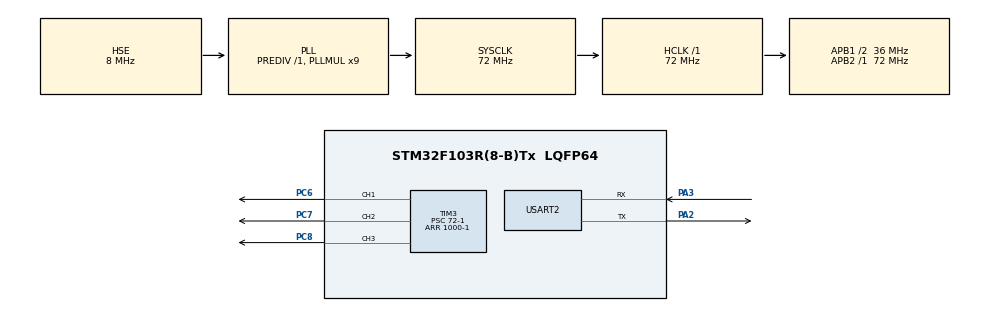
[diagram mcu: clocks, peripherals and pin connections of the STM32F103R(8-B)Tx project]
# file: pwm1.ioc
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Mcu.Family=STM32F1
Mcu.Name=STM32F103R(8-B)Tx
Mcu.Package=LQFP64
NVIC.PriorityGroup=NVIC_PRIORITYGROUP_4
PA2.Mode=Asynchronous
PA2.Signal=USART2_TX
PA3.Mode=Asynchronous
PA3.Signal=USART2_RX
PC14-OSC32_IN.Mode=LSE-External-Oscillator
PC14-OSC32_IN.Signal=RCC_OSC32_IN
PC15-OSC32_OUT.Mode=LSE-External-Oscillator
PC15-OSC32_OUT.Signal=RCC_OSC32_OUT
PC6.Signal=S_TIM3_CH1
PC7.Signal=S_TIM3_CH2
PC8.Signal=S_TIM3_CH3
PD0-OSC_IN.Mode=HSE-External-Clock-Source
PD0-OSC_IN.Signal=RCC_OSC_IN
PD1-OSC_OUT.Mode=HSE-External-Clock-Source
PD1-OSC_OUT.Signal=RCC_OSC_OUT
ProjectManager.HeapSize=0x200
ProjectManager.StackSize=0x400
ProjectManager.TargetToolchain=STM32CubeIDE
RCC.AHBFreq_Value=72000000
RCC.APB1CLKDivider=RCC_HCLK_DIV2
RCC.APB1Freq_Value=36000000
RCC.APB1TimFreq_Value=72000000
RCC.APB2Freq_Value=72000000
RCC.APB2TimFreq_Value=72000000
RCC.HCLKFreq_Value=72000000
RCC.PLLMUL=RCC_PLL_MUL9
RCC.PLLSourceVirtual=RCC_PLLSOURCE_HSE
RCC.SYSCLKFreq_VALUE=72000000
RCC.SYSCLKSource=RCC_SYSCLKSOURCE_PLLCLK
RCC.USBFreq_Value=72000000
SH.S_TIM3_CH1.0=TIM3_CH1,PWM Generation1 CH1
SH.S_TIM3_CH2.0=TIM3_CH2,PWM Generation2 CH2
SH.S_TIM3_CH3.0=TIM3_CH3,PWM Generation3 CH3
TIM3.AutoReloadPreload=TIM_AUTORELOAD_PRELOAD_ENABLE
TIM3.Channel-PWM\ Generation1\ CH1=TIM_CHANNEL_1
TIM3.Channel-PWM\ Generation2\ CH2=TIM_CHANNEL_2
TIM3.Channel-PWM\ Generation3\ CH3=TIM_CHANNEL_3
TIM3.Period=1000-1
TIM3.Prescaler=72-1
TIM3.Pulse-PWM\ Generation1\ CH1=500
USART2.VirtualMode=VM_ASYNC
VP_TIM3_VS_ClockSourceINT.Mode=Internal
board=custom

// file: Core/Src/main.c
/* USER CODE BEGIN Header */
/**
  ******************************************************************************
  * @file           : main.c
  * @brief          : Main program body
  ******************************************************************************
  * @attention
  *
  * Copyright (c) 2023 STMicroelectronics.
  * All rights reserved.
  *
  * This software is licensed under terms that can be found in the LICENSE file
  * in the root directory of this software component.
  * If no LICENSE file comes with this software, it is provided AS-IS.
  *
  ******************************************************************************
  */
/* USER CODE END Header */
#include "main.h"

/* USER CODE BEGIN Includes */
#include "stdio.h"
/* USER CODE END Includes */

TIM_HandleTypeDef htim3;

UART_HandleTypeDef huart2;

/* USER CODE BEGIN PV */
uint16_t led_arr , led_ccr1;
uint16_t input_arr, input_ccr1;
/* USER CODE END PV */

void SystemClock_Config(void);
static void MX_GPIO_Init(void);
static void MX_TIM3_Init(void);
static void MX_USART2_UART_Init(void);

/* USER CODE BEGIN 0 */
int __io_putchar(int ch) {
   HAL_UART_Transmit(&huart2, (uint8_t *)&ch, 1, 1000);
   if (ch == '\n') {
      HAL_UART_Transmit(&huart2, (uint8_t *)"\r", 1, 1000);
   }
   return ch;
}
void print_pwm(){

	led_ccr1 = __HAL_TIM_GET_COMPARE(&htim3, TIM_CHANNEL_1);
	led_arr = __HAL_TIM_GET_AUTORELOAD(&htim3);
	printf("LED_ARR : %d, LED_CCR1 : %d\n\n", led_arr, led_ccr1);
}

int __io_getchar(void) {
  uint8_t ch = 0;
  __HAL_UART_CLEAR_OREFLAG(&huart2);
  HAL_UART_Receive(&huart2, (uint8_t *)&ch, 1, HAL_MAX_DELAY);
  HAL_UART_Transmit(&huart2, (uint8_t *)&ch, 1, 1000);
  // 입력 내용을 바로 출력
  return ch;
}

/* USER CODE END 0 */

int main(void)
{

  /* MCU Configuration--------------------------------------------------------*/

  /* Reset of all peripherals, Initializes the Flash interface and the Systick. */
  HAL_Init();

  /* Configure the system clock */
  SystemClock_Config();

  /* Initialize all configured peripherals */
  MX_GPIO_Init();
  MX_TIM3_Init();
  MX_USART2_UART_Init();
  /* USER CODE BEGIN 2 */
  HAL_TIM_PWM_Start(&htim3, TIM_CHANNEL_1);
  setvbuf(stdin, NULL, _IONBF, 0);  // 버퍼링 정책 사용 금지

  /* USER CODE END 2 */

  /* Infinite loop */
  while (1)
  {

    /* USER CODE BEGIN 3 */
#if 0
	  for(int i = 0; i < 1000; i+=10){
		  __HAL_TIM_SET_COMPARE(&htim3, TIM_CHANNEL_1, i);
		  HAL_Delay(100);
	  }
	  for(int i = 999; i > 0; i-=10){
	  		  __HAL_TIM_SET_COMPARE(&htim3, TIM_CHANNEL_1, i);
	  		  HAL_Delay(100);
	  	  }
#endif 0
#if 0
	  for(int i = 0; i< 1000; i+=100){
		  __HAL_TIM_SET_COMPARE(&htim3, TIM_CHANNEL_1, i);
		  print_pwm();
		  HAL_Delay(500);
	  }

	  for(int i = 1000; i >= 0; i-=100){
		  __HAL_TIM_SET_COMPARE(&htim3, TIM_CHANNEL_1, i);
		  print_pwm();
		  HAL_Delay(500);
	  }
  }
#endif
#if 1
printf("ARR & CCR1 VALUE = ");
scanf("%d %d", &input_arr, &input_ccr1);
printf("\n\n");
__HAL_TIM_SET_AUTORELOAD(&htim3, input_arr);
__HAL_TIM_SET_COMPARE(&htim3, TIM_CHANNEL_1, input_ccr1);
#endif 1
}
  /* USER CODE END 3 */
}

void SystemClock_Config(void)
{
  RCC_OscInitTypeDef RCC_OscInitStruct = {0};
  RCC_ClkInitTypeDef RCC_ClkInitStruct = {0};

  /** Initializes the RCC Oscillators according to the specified parameters
  * in the RCC_OscInitTypeDef structure.
  */
  RCC_OscInitStruct.OscillatorType = RCC_OSCILLATORTYPE_HSE;
  RCC_OscInitStruct.HSEState = RCC_HSE_BYPASS;
  RCC_OscInitStruct.HSEPredivValue = RCC_HSE_PREDIV_DIV1;
  RCC_OscInitStruct.HSIState = RCC_HSI_ON;
  RCC_OscInitStruct.PLL.PLLState = RCC_PLL_ON;
  RCC_OscInitStruct.PLL.PLLSource = RCC_PLLSOURCE_HSE;
  RCC_OscInitStruct.PLL.PLLMUL = RCC_PLL_MUL9;
  if (HAL_RCC_OscConfig(&RCC_OscInitStruct) != HAL_OK)
  {
    Error_Handler();
  }

  /** Initializes the CPU, AHB and APB buses clocks
  */
  RCC_ClkInitStruct.ClockType = RCC_CLOCKTYPE_HCLK|RCC_CLOCKTYPE_SYSCLK
                              |RCC_CLOCKTYPE_PCLK1|RCC_CLOCKTYPE_PCLK2;
  RCC_ClkInitStruct.SYSCLKSource = RCC_SYSCLKSOURCE_PLLCLK;
  RCC_ClkInitStruct.AHBCLKDivider = RCC_SYSCLK_DIV1;
  RCC_ClkInitStruct.APB1CLKDivider = RCC_HCLK_DIV2;
  RCC_ClkInitStruct.APB2CLKDivider = RCC_HCLK_DIV1;

  if (HAL_RCC_ClockConfig(&RCC_ClkInitStruct, FLASH_LATENCY_2) != HAL_OK)
  {
    Error_Handler();
  }
}

static void MX_TIM3_Init(void)
{

  TIM_ClockConfigTypeDef sClockSourceConfig = {0};
  TIM_MasterConfigTypeDef sMasterConfig = {0};
  TIM_OC_InitTypeDef sConfigOC = {0};

  htim3.Instance = TIM3;
  htim3.Init.Prescaler = 72-1;
  htim3.Init.CounterMode = TIM_COUNTERMODE_UP;
  htim3.Init.Period = 1000-1;
  htim3.Init.ClockDivision = TIM_CLOCKDIVISION_DIV1;
  htim3.Init.AutoReloadPreload = TIM_AUTORELOAD_PRELOAD_ENABLE;
  if (HAL_TIM_Base_Init(&htim3) != HAL_OK)
  {
    Error_Handler();
  }
  sClockSourceConfig.ClockSource = TIM_CLOCKSOURCE_INTERNAL;
  if (HAL_TIM_ConfigClockSource(&htim3, &sClockSourceConfig) != HAL_OK)
  {
    Error_Handler();
  }
  if (HAL_TIM_PWM_Init(&htim3) != HAL_OK)
  {
    Error_Handler();
  }
  sMasterConfig.MasterOutputTrigger = TIM_TRGO_RESET;
  sMasterConfig.MasterSlaveMode = TIM_MASTERSLAVEMODE_DISABLE;
  if (HAL_TIMEx_MasterConfigSynchronization(&htim3, &sMasterConfig) != HAL_OK)
  {
    Error_Handler();
  }
  sConfigOC.OCMode = TIM_OCMODE_PWM1;
  sConfigOC.Pulse = 500;
  sConfigOC.OCPolarity = TIM_OCPOLARITY_HIGH;
  sConfigOC.OCFastMode = TIM_OCFAST_DISABLE;
  if (HAL_TIM_PWM_ConfigChannel(&htim3, &sConfigOC, TIM_CHANNEL_1) != HAL_OK)
  {
    Error_Handler();
  }
  sConfigOC.Pulse = 0;
  if (HAL_TIM_PWM_ConfigChannel(&htim3, &sConfigOC, TIM_CHANNEL_2) != HAL_OK)
  {
    Error_Handler();
  }
  if (HAL_TIM_PWM_ConfigChannel(&htim3, &sConfigOC, TIM_CHANNEL_3) != HAL_OK)
  {
    Error_Handler();
  }
  HAL_TIM_MspPostInit(&htim3);

}

static void MX_USART2_UART_Init(void)
{

  huart2.Instance = USART2;
  huart2.Init.BaudRate = 115200;
  huart2.Init.WordLength = UART_WORDLENGTH_8B;
  huart2.Init.StopBits = UART_STOPBITS_1;
  huart2.Init.Parity = UART_PARITY_NONE;
  huart2.Init.Mode = UART_MODE_TX_RX;
  huart2.Init.HwFlowCtl = UART_HWCONTROL_NONE;
  huart2.Init.OverSampling = UART_OVERSAMPLING_16;
  if (HAL_UART_Init(&huart2) != HAL_OK)
  {
    Error_Handler();
  }

}

static void MX_GPIO_Init(void)
{

  /* GPIO Ports Clock Enable */
  __HAL_RCC_GPIOC_CLK_ENABLE();
  __HAL_RCC_GPIOD_CLK_ENABLE();
  __HAL_RCC_GPIOA_CLK_ENABLE();

}

void Error_Handler(void)
{
  __disable_irq();
  while (1)
  {
  }
}
